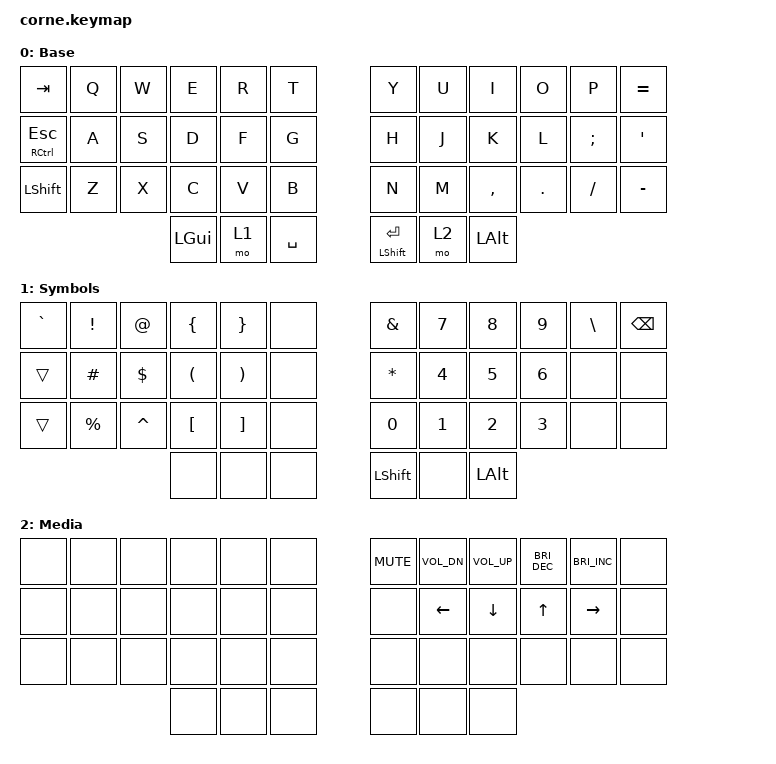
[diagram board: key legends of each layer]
#include <behaviors.dtsi>
#include <dt-bindings/zmk/bt.h>
#include <dt-bindings/zmk/keys.h>

#define DEFAULT 0
#define LOWER   1
#define UPPER   2

/ {
    combos {
        compatible = "zmk,combos";

        BluetoothReset {
            bindings = <&bt BT_CLR_ALL>;
            key-positions = <0 11>;
            layers = <2>;
        };
    };

    keymap {
        compatible = "zmk,keymap";

        Base {
            bindings = <
&kp TAB           &kp Q  &kp W  &kp E     &kp R  &kp T        &kp Y                  &kp U  &kp I         &kp O    &kp P     &kp EQUAL
&mt RCTRL ESCAPE  &kp A  &kp S  &kp D     &kp F  &kp G        &kp H                  &kp J  &kp K         &kp L    &kp SEMI  &kp SQT
&kp LEFT_SHIFT    &kp Z  &kp X  &kp C     &kp V  &kp B        &kp N                  &kp M  &kp COMMA     &kp DOT  &kp FSLH  &kp MINUS
                                &kp LGUI  &mo 1  &kp SPACE    &mt LEFT_SHIFT RETURN  &mo 2  &kp LEFT_ALT
            >;
        };

        Symbols {
            bindings = <
&kp GRAVE  &kp EXCL     &kp AT_SIGN  &kp LEFT_BRACE        &kp RIGHT_BRACE        &none    &kp AMPERSAND   &kp N7        &kp N8        &kp N9        &kp BACKSLASH  &kp BACKSPACE
&trans     &kp HASH     &kp DOLLAR   &kp LEFT_PARENTHESIS  &kp RIGHT_PARENTHESIS  &none    &kp ASTERISK    &kp NUMBER_4  &kp NUMBER_5  &kp NUMBER_6  &none          &none
&trans     &kp PERCENT  &kp CARET    &kp LEFT_BRACKET      &kp RIGHT_BRACKET      &none    &kp NUMBER_0    &kp NUMBER_1  &kp NUMBER_2  &kp NUMBER_3  &none          &none
                                     &none                 &none                  &none    &kp LEFT_SHIFT  &none         &kp LEFT_ALT
            >;
        };

        Media {
            bindings = <
&none  &none  &none  &none  &none  &none    &kp K_MUTE  &kp C_VOL_DN  &kp C_VOLUME_UP  &kp C_BRIGHTNESS_DEC  &kp C_BRIGHTNESS_INC  &none
&none  &none  &none  &none  &none  &none    &none       &kp LEFT      &kp DOWN         &kp UP                &kp RIGHT             &none
&none  &none  &none  &none  &none  &none    &none       &none         &none            &none                 &none                 &none
                     &none  &none  &none    &none       &none         &none
            >;
        };
    };
};
